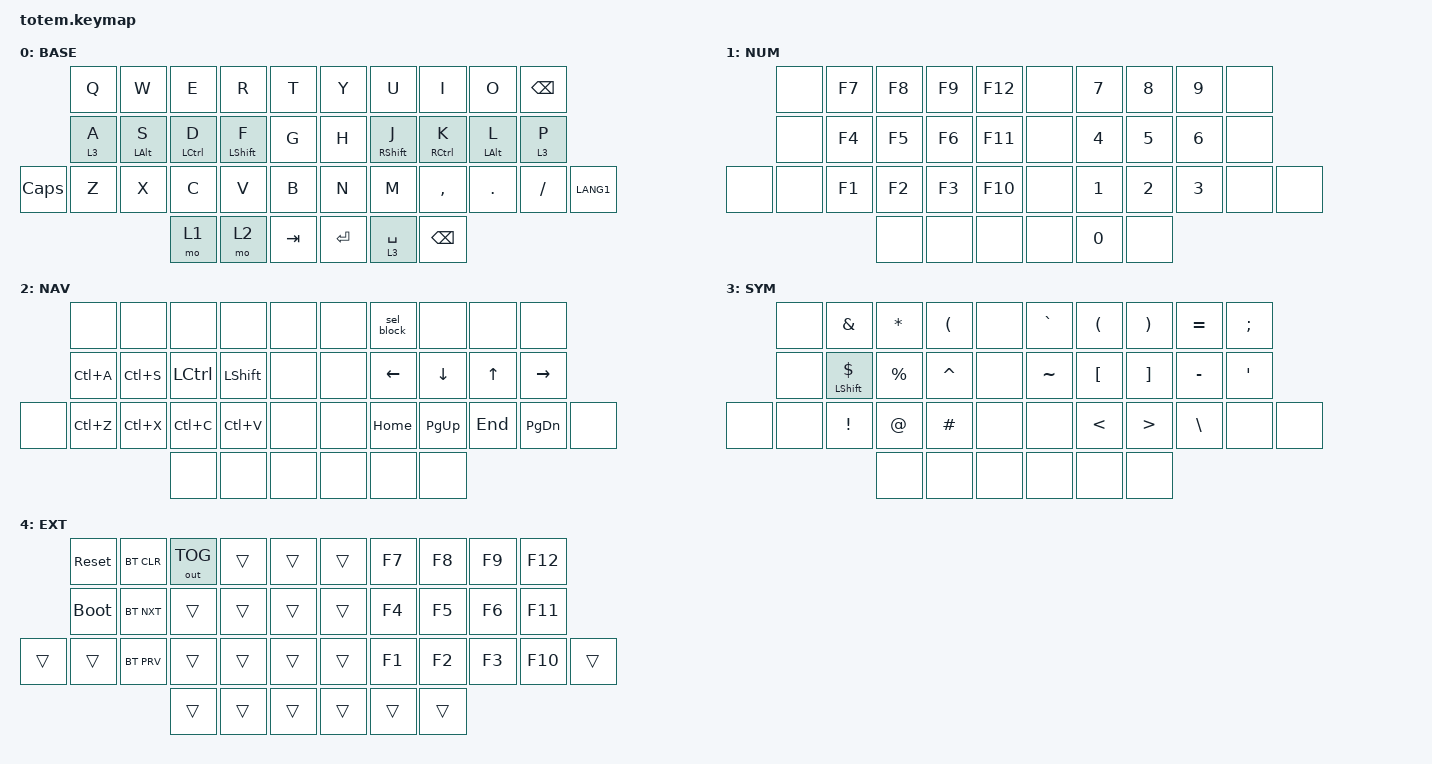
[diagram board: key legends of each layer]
//
//                                                        ▀▀▀▀▀     ▀▀▀▀▀          ▀▀█▀▀
//                                                        ▄▀▀▀▄  ▄  ▄▀▀▀▄  ▄  ▄▀▀▀▄  █  ▄▀▀▀▄
//                                                        █   █  █  █   █  █  █   █  █  █   █
//                                                         ▀▀▀   █   ▀▀▀   █   ▀▀▀   ▀   ▀▀▀
//                                                               █      ▄▄▄█▄▄▄    █   █  
//                                                               ▀      █  █  █     █▄█
//                                                             ▀▀▀▀▀    █  █  █      ▀
//                                                                      ▀  ▀  ▀
//
// ▄▄▄▄▄▄▄▄▄▄▄▄▄▄▄▄▄▄▄▄▄▄▄▄▄▄▄▄▄▄▄▄▄▄▄▄▄▄▄▄▄▄▄▄▄▄▄▄▄▄▄▄▄▄▄▄▄▄▄▄▄▄▄▄▄▄▄▄▄▄▄▄▄▄▄▄▄▄▄▄▄▄▄▄▄▄▄▄▄▄▄▄▄▄▄▄▄▄▄▄▄▄▄▄▄▄▄▄▄▄▄▄▄▄▄▄▄▄▄▄▄▄▄▄▄▄▄▄▄▄▄▄▄▄▄▄▄▄▄▄▄▄▄▄▄▄▄▄▄

#include <behaviors.dtsi>
#include <dt-bindings/zmk/bt.h>
#include <dt-bindings/zmk/keys.h>
#include <dt-bindings/zmk/outputs.h>

#define BASE 0
#define QWT 1
#define NUM  2
#define NAV  3
#define SYM  4
#define EXT  5

&mt {
    quick-tap-ms = <100>;
    global-quick-tap;
    flavor = "tap-preferred";
    tapping-term-ms = <230>;
};

/ {
    combos {
        compatible = "zmk,combos";

        combo_esc {
            timeout-ms = <50>;
            key-positions = <0 1>;
            bindings = <&kp ESC>;
        };

        combo_ext {
            timeout-ms = <50>;
            key-positions = <1 2>;
            bindings = <&tog 4>;
        };
    };

    macros {
        sel_block: sel_block {
            compatible = "zmk,behavior-macro";
            #binding-cells = <0>;
            bindings =
                <&kp LC(LEFT)>,
                <&macro_press>,
                <&kp LSHFT>,
                <&macro_tap>,
                <&kp LC(RIGHT)>,
                <&macro_release>,
                <&kp LSHFT>;
        };
    };

    keymap {
        compatible = "zmk,keymap";

        // ▄▄▄▄▄▄▄▄▄▄▄▄▄▄▄▄▄▄▄▄▄▄▄▄▄▄▄▄▄▄▄▄▄▄▄▄▄▄▄▄▄▄▄▄▄▄▄▄▄▄▄▄▄▄▄▄▄▄▄▄▄▄▄▄▄▄▄▄▄▄▄▄▄▄▄▄▄▄▄▄▄▄▄▄▄▄▄▄▄▄▄▄▄▄▄▄▄▄▄▄▄▄▄▄▄▄▄▄▄▄▄▄▄▄▄▄▄▄▄▄▄▄▄▄▄▄▄▄▄▄▄▄▄▄▄▄▄▄▄▄▄▄▄▄▄▄▄▄▄
        // ▄▄▄▄▄▄▄▄▄▄▄▄▄▄▄▄▄▄▄▄▄▄▄▄▄▄▄▄▄▄▄▄▄▄▄▄▄▄▄▄▄▄▄▄▄▄▄▄▄▄▄▄▄▄▄▄▄▄▄▄▄▄▄▄▄▄▄▄▄▄▄▄▄▄▄▄▄▄▄▄▄▄▄▄▄▄▄▄▄▄▄▄▄▄▄▄▄▄▄▄▄▄▄▄▄▄▄▄▄▄▄▄▄▄▄▄▄▄▄▄▄▄▄▄▄▄▄▄▄▄▄▄▄▄▄▄▄▄▄▄▄▄▄▄▄▄▄▄▄

        qwerty_layer {
            // ┏━━━━━━━━━━━━━━━━━━━━━━━━━━━━━━━━━━━━━━━┓

            label = "BASE";

            // ┗━━━━━━━━━━━━━━━━━━━━━━━━━━━━━━━━━━━━━━━┛
            //             ┏━━━━━━━━━━━┳━━━━━━━━━━━┳━━━━━━━━━━━┳━━━━━━━━━━━┳━━━━━━━━━━━┓   ┏━━━━━━━━━━━┳━━━━━━━━━━━┳━━━━━━━━━━━┳━━━━━━━━━━━┳━━━━━━━━━━━┓
            //             ┃     Q     ┃     W     ┃     F     ┃     P     ┃     G     ┃   ┃     J     ┃     L     ┃     U     ┃     Y     ┃     ;     ┃
            //             ┣━━━━━━━━━━━╋━━━━━━━━━━━╋━━━━━━━━━━━╋━━━━━━━━━━━╋━━━━━━━━━━━┫   ┣━━━━━━━━━━━╋━━━━━━━━━━━╋━━━━━━━━━━━╋━━━━━━━━━━━╋━━━━━━━━━━━┫
            //             ┃     A     ┃     R     ┃     S     ┃     T     ┃     D     ┃   ┃     H     ┃     N     ┃     E     ┃     I     ┃     O     ┃
            // ┏━━━━━━━━━━━╋━━━━━━━━━━━╋━━━━━━━━━━━╋━━━━━━━━━━━╋━━━━━━━━━━━╋━━━━━━━━━━━┫   ┣━━━━━━━━━━━╋━━━━━━━━━━━╋━━━━━━━━━━━╋━━━━━━━━━━━╋━━━━━━━━━━━╋━━━━━━━━━━━┓
            // ┃     Q     ┃     Z     ┃     X     ┃     C     ┃     V     ┃     B     ┃   ┃     K     ┃     M     ┃     ,     ┃     .     ┃     /     ┃     \     ┃
            // ┗━━━━━━━━━━━┻━━━━━━━━━━━┻━━━━━━━━━━━╋━━━━━━━━━━━╋━━━━━━━━━━━╋━━━━━━━━━━━┫   ┣━━━━━━━━━━━╋━━━━━━━━━━━╋━━━━━━━━━━━╋━━━━━━━━━━━┻━━━━━━━━━━━┻━━━━━━━━━━━┛
            //                                     ┃    DEL    ┃    TAB    ┃    SPC    ┃   ┃   ENTER   ┃           ┃   BSPC    ┃
            //                                     ┗━━━━━━━━━━━┻━━━━━━━━━━━┻━━━━━━━━━━━┛   ┗━━━━━━━━━━━┻━━━━━━━━━━━┻━━━━━━━━━━━┛

            bindings = <
          &kp Q    &kp W       &kp E        &kp R        &kp T      &kp Y    &kp U        &kp I        &kp O       &kp BACKSPACE
          &lt 3 A  &mt LALT S  &mt LCTRL D  &mt LSHFT F  &kp G      &kp H    &mt RSHFT J  &mt RCTRL K  &mt LALT L  &lt 3 P
&kp CAPS  &kp Z    &kp X       &kp C        &kp V        &kp B      &kp N    &kp M        &kp COMMA    &kp DOT     &kp FSLH       &kp LANG1
                               &mo 1        &mo 2        &kp TAB    &kp RET  &lt 3 SPACE  &kp BSPC
            >;
        };

        // ▄▄▄▄▄▄▄▄▄▄▄▄▄▄▄▄▄▄▄▄▄▄▄▄▄▄▄▄▄▄▄▄▄▄▄▄▄▄▄▄▄▄▄▄▄▄▄▄▄▄▄▄▄▄▄▄▄▄▄▄▄▄▄▄▄▄▄▄▄▄▄▄▄▄▄▄▄▄▄▄▄▄▄▄▄▄▄▄▄▄▄▄▄▄▄▄▄▄▄▄▄▄▄▄▄▄▄▄▄▄▄▄▄▄▄▄▄▄▄▄▄▄▄▄▄▄▄▄▄▄▄▄▄▄▄▄▄▄▄▄▄▄▄▄▄▄▄▄▄

        num_layer {
            // ┏━━━━━━━━━━━━━━━━━━━━━━━━━━━━━━━━━━━━━━━┓

            label = "NUM";

            // ┗━━━━━━━━━━━━━━━━━━━━━━━━━━━━━━━━━━━━━━━┛
            //             ┏━━━━━━━━━━━┳━━━━━━━━━━━┳━━━━━━━━━━━┳━━━━━━━━━━━┳━━━━━━━━━━━┓   ┏━━━━━━━━━━━┳━━━━━━━━━━━┳━━━━━━━━━━━┳━━━━━━━━━━━┳━━━━━━━━━━━┓
            //             ┃           ┃           ┃     UP    ┃           ┃     {     ┃   ┃     }     ┃     7     ┃     8     ┃     9     ┃     +     ┃
            //             ┣━━━━━━━━━━━╋━━━━━━━━━━━╋━━━━━━━━━━━╋━━━━━━━━━━━╋━━━━━━━━━━━┫   ┣━━━━━━━━━━━╋━━━━━━━━━━━╋━━━━━━━━━━━╋━━━━━━━━━━━╋━━━━━━━━━━━┫
            //             ┃   SHIFT   ┃   LEFT    ┃    DOWN   ┃   RIGHT   ┃     [     ┃   ┃     ]     ┃     4     ┃     5     ┃     6     ┃     -     ┃
            // ┏━━━━━━━━━━━╋━━━━━━━━━━━╋━━━━━━━━━━━╋━━━━━━━━━━━╋━━━━━━━━━━━╋━━━━━━━━━━━┫   ┣━━━━━━━━━━━╋━━━━━━━━━━━╋━━━━━━━━━━━╋━━━━━━━━━━━╋━━━━━━━━━━━╋━━━━━━━━━━━┓
            // ┃           ┃           ┃   P UP    ┃  C LOCK   ┃  P DOWN   ┃     (     ┃   ┃     )     ┃     1     ┃     2     ┃     3     ┃     *     ┃           ┃
            // ┗━━━━━━━━━━━┻━━━━━━━━━━━┻━━━━━━━━━━━╋━━━━━━━━━━━╋━━━━━━━━━━━╋━━━━━━━━━━━┫   ┣━━━━━━━━━━━╋━━━━━━━━━━━╋━━━━━━━━━━━╋━━━━━━━━━━━┻━━━━━━━━━━━┻━━━━━━━━━━━┛
            //                                     ┃           ┃    TAB    ┃    SPC    ┃   ┃    DEL    ┃     0     ┃           ┃
            //                                     ┗━━━━━━━━━━━┻━━━━━━━━━━━┻━━━━━━━━━━━┛   ┗━━━━━━━━━━━┻━━━━━━━━━━━┻━━━━━━━━━━━┛

            bindings = <
       &none  &kp F7  &kp F8  &kp F9  &kp F12    &none  &kp N7        &kp N8  &kp N9  &none
       &none  &kp F4  &kp F5  &kp F6  &kp F11    &none  &kp N4        &kp N5  &kp N6  &none
&none  &none  &kp F1  &kp F2  &kp F3  &kp F10    &none  &kp N1        &kp N2  &kp N3  &none  &none
                      &none   &none   &none      &none  &kp NUMBER_0  &none
            >;
        };

        // ▄▄▄▄▄▄▄▄▄▄▄▄▄▄▄▄▄▄▄▄▄▄▄▄▄▄▄▄▄▄▄▄▄▄▄▄▄▄▄▄▄▄▄▄▄▄▄▄▄▄▄▄▄▄▄▄▄▄▄▄▄▄▄▄▄▄▄▄▄▄▄▄▄▄▄▄▄▄▄▄▄▄▄▄▄▄▄▄▄▄▄▄▄▄▄▄▄▄▄▄▄▄▄▄▄▄▄▄▄▄▄▄▄▄▄▄▄▄▄▄▄▄▄▄▄▄▄▄▄▄▄▄▄▄▄▄▄▄▄▄▄▄▄▄▄▄▄▄▄

        nav_layer {
            // ┏━━━━━━━━━━━━━━━━━━━━━━━━━━━━━━━━━━━━━━━┓

            label = "NAV";

            // ┗━━━━━━━━━━━━━━━━━━━━━━━━━━━━━━━━━━━━━━━┛
            //             ┏━━━━━━━━━━━┳━━━━━━━━━━━┳━━━━━━━━━━━┳━━━━━━━━━━━┳━━━━━━━━━━━┓   ┏━━━━━━━━━━━┳━━━━━━━━━━━┳━━━━━━━━━━━┳━━━━━━━━━━━┳━━━━━━━━━━━┓
            //             ┃     !     ┃     @     ┃     #     ┃     $     ┃     %     ┃   ┃     ˆ     ┃     &     ┃     Ü     ┃     '     ┃     "     ┃
            //             ┣━━━━━━━━━━━╋━━━━━━━━━━━╋━━━━━━━━━━━╋━━━━━━━━━━━╋━━━━━━━━━━━┫   ┣━━━━━━━━━━━╋━━━━━━━━━━━╋━━━━━━━━━━━╋━━━━━━━━━━━╋━━━━━━━━━━━┫
            //             ┃     Ä     ┃           ┃    SZ     ┃           ┃           ┃   ┃   MUTE    ┃   YEN     ┃   EURO    ┃  POUND    ┃     Ö     ┃
            // ┏━━━━━━━━━━━╋━━━━━━━━━━━╋━━━━━━━━━━━╋━━━━━━━━━━━╋━━━━━━━━━━━╋━━━━━━━━━━━┫   ┣━━━━━━━━━━━╋━━━━━━━━━━━╋━━━━━━━━━━━╋━━━━━━━━━━━╋━━━━━━━━━━━╋━━━━━━━━━━━┓
            // ┃           ┃  EMAIL1   ┃  EMAIL2   ┃           ┃           ┃           ┃   ┃   VOL-    ┃   VOL+    ┃   LAST    ┃   NEXT    ┃     \     ┃           ┃
            // ┗━━━━━━━━━━━┻━━━━━━━━━━━┻━━━━━━━━━━━╋━━━━━━━━━━━╋━━━━━━━━━━━╋━━━━━━━━━━━┫   ┣━━━━━━━━━━━╋━━━━━━━━━━━╋━━━━━━━━━━━╋━━━━━━━━━━━┻━━━━━━━━━━━┻━━━━━━━━━━━┛
            //                                     ┃           ┃    GIF    ┃    ADJ    ┃   ┃           ┃           ┃           ┃
            //                                     ┗━━━━━━━━━━━┻━━━━━━━━━━━┻━━━━━━━━━━━┛   ┗━━━━━━━━━━━┻━━━━━━━━━━━┻━━━━━━━━━━━┛

            bindings = <
       &none      &none      &none             &none           &none    &none  &sel_block  &none      &none         &none
       &kp LC(A)  &kp LC(S)  &kp LEFT_CONTROL  &kp LEFT_SHIFT  &none    &none  &kp LEFT    &kp DOWN   &kp UP_ARROW  &kp RIGHT
&none  &kp LC(Z)  &kp LC(X)  &kp LC(C)         &kp LC(V)       &none    &none  &kp HOME    &kp PG_UP  &kp END       &kp PG_DN  &none
                             &none             &none           &none    &none  &none       &none
            >;
        };

        // ▄▄▄▄▄▄▄▄▄▄▄▄▄▄▄▄▄▄▄▄▄▄▄▄▄▄▄▄▄▄▄▄▄▄▄▄▄▄▄▄▄▄▄▄▄▄▄▄▄▄▄▄▄▄▄▄▄▄▄▄▄▄▄▄▄▄▄▄▄▄▄▄▄▄▄▄▄▄▄▄▄▄▄▄▄▄▄▄▄▄▄▄▄▄▄▄▄▄▄▄▄▄▄▄▄▄▄▄▄▄▄▄▄▄▄▄▄▄▄▄▄▄▄▄▄▄▄▄▄▄▄▄▄▄▄▄▄▄▄▄▄▄▄▄▄▄▄▄▄

        sym_layer {
            // ┏━━━━━━━━━━━━━━━━━━━━━━━━━━━━━━━━━━━━━━━┓

            label = "SYM";

            // ┗━━━━━━━━━━━━━━━━━━━━━━━━━━━━━━━━━━━━━━━┛
            //             ┏━━━━━━━━━━━┳━━━━━━━━━━━┳━━━━━━━━━━━┳━━━━━━━━━━━┳━━━━━━━━━━━┓   ┏━━━━━━━━━━━┳━━━━━━━━━━━┳━━━━━━━━━━━┳━━━━━━━━━━━┳━━━━━━━━━━━┓
            //             ┃     !     ┃     @     ┃     #     ┃     $     ┃     %     ┃   ┃     ˆ     ┃     &     ┃     Ü     ┃     '     ┃     "     ┃
            //             ┣━━━━━━━━━━━╋━━━━━━━━━━━╋━━━━━━━━━━━╋━━━━━━━━━━━╋━━━━━━━━━━━┫   ┣━━━━━━━━━━━╋━━━━━━━━━━━╋━━━━━━━━━━━╋━━━━━━━━━━━╋━━━━━━━━━━━┫
            //             ┃     Ä     ┃           ┃    SZ     ┃           ┃           ┃   ┃   MUTE    ┃   YEN     ┃   EURO    ┃  POUND    ┃     Ö     ┃
            // ┏━━━━━━━━━━━╋━━━━━━━━━━━╋━━━━━━━━━━━╋━━━━━━━━━━━╋━━━━━━━━━━━╋━━━━━━━━━━━┫   ┣━━━━━━━━━━━╋━━━━━━━━━━━╋━━━━━━━━━━━╋━━━━━━━━━━━╋━━━━━━━━━━━╋━━━━━━━━━━━┓
            // ┃           ┃  EMAIL1   ┃  EMAIL2   ┃           ┃           ┃           ┃   ┃   VOL-    ┃   VOL+    ┃   LAST    ┃   NEXT    ┃     \     ┃           ┃
            // ┗━━━━━━━━━━━┻━━━━━━━━━━━┻━━━━━━━━━━━╋━━━━━━━━━━━╋━━━━━━━━━━━╋━━━━━━━━━━━┫   ┣━━━━━━━━━━━╋━━━━━━━━━━━╋━━━━━━━━━━━╋━━━━━━━━━━━┻━━━━━━━━━━━┻━━━━━━━━━━━┛
            //                                     ┃           ┃    GIF    ┃    ADJ    ┃   ┃           ┃           ┃           ┃
            //                                     ┗━━━━━━━━━━━┻━━━━━━━━━━━┻━━━━━━━━━━━┛   ┗━━━━━━━━━━━┻━━━━━━━━━━━┻━━━━━━━━━━━┛

            bindings = <
       &none  &kp AMPS        &kp ASTRK  &kp LPAR   &none    &kp GRAVE  &kp LPAR  &kp RPAR  &kp EQUAL  &kp SEMI
       &none  &mt LSHFT DLLR  &kp PRCNT  &kp CARET  &none    &kp TILDE  &kp LBKT  &kp RBKT  &kp MINUS  &kp SQT
&none  &none  &kp EXCL        &kp AT     &kp HASH   &none    &none      &kp LT    &kp GT    &kp BSLH   &none     &none
                              &none      &none      &none    &none      &none     &none
            >;
        };

        // ▄▄▄▄▄▄▄▄▄▄▄▄▄▄▄▄▄▄▄▄▄▄▄▄▄▄▄▄▄▄▄▄▄▄▄▄▄▄▄▄▄▄▄▄▄▄▄▄▄▄▄▄▄▄▄▄▄▄▄▄▄▄▄▄▄▄▄▄▄▄▄▄▄▄▄▄▄▄▄▄▄▄▄▄▄▄▄▄▄▄▄▄▄▄▄▄▄▄▄▄▄▄▄▄▄▄▄▄▄▄▄▄▄▄▄▄▄▄▄▄▄▄▄▄▄▄▄▄▄▄▄▄▄▄▄▄▄▄▄▄▄▄▄▄▄▄▄▄▄

        extend_layer {
            // ┏━━━━━━━━━━━━━━━━━━━━━━━━━━━━━━━━━━━━━━━┓

            label = "EXT";

            // ┗━━━━━━━━━━━━━━━━━━━━━━━━━━━━━━━━━━━━━━━┛
            //             ┏━━━━━━━━━━━┳━━━━━━━━━━━┳━━━━━━━━━━━┳━━━━━━━━━━━┳━━━━━━━━━━━┓   ┏━━━━━━━━━━━┳━━━━━━━━━━━┳━━━━━━━━━━━┳━━━━━━━━━━━┳━━━━━━━━━━━┓
            //             ┃   RESET   ┃ BT CLEAR  ┃  OUT TOG  ┃           ┃           ┃   ┃           ┃    F7     ┃    F8     ┃    F9     ┃    F12    ┃
            //             ┣━━━━━━━━━━━╋━━━━━━━━━━━╋━━━━━━━━━━━╋━━━━━━━━━━━╋━━━━━━━━━━━┫   ┣━━━━━━━━━━━╋━━━━━━━━━━━╋━━━━━━━━━━━╋━━━━━━━━━━━╋━━━━━━━━━━━┫
            //             ┃ BOOTLOAD  ┃ BT NEXT   ┃           ┃           ┃           ┃   ┃           ┃    F4     ┃    F5     ┃    F6     ┃    F11    ┃
            // ┏━━━━━━━━━━━╋━━━━━━━━━━━╋━━━━━━━━━━━╋━━━━━━━━━━━╋━━━━━━━━━━━╋━━━━━━━━━━━┫   ┣━━━━━━━━━━━╋━━━━━━━━━━━╋━━━━━━━━━━━╋━━━━━━━━━━━╋━━━━━━━━━━━╋━━━━━━━━━━━┓
            // ┃           ┃           ┃ BT PREV   ┃           ┃           ┃           ┃   ┃           ┃    F1     ┃    F2     ┃    F3     ┃    F10    ┃           ┃
            // ┗━━━━━━━━━━━┻━━━━━━━━━━━┻━━━━━━━━━━━╋━━━━━━━━━━━╋━━━━━━━━━━━╋━━━━━━━━━━━┫   ┣━━━━━━━━━━━╋━━━━━━━━━━━╋━━━━━━━━━━━╋━━━━━━━━━━━┻━━━━━━━━━━━┻━━━━━━━━━━━┛
            //                                     ┃           ┃           ┃           ┃   ┃           ┃           ┃           ┃
            //                                     ┗━━━━━━━━━━━┻━━━━━━━━━━━┻━━━━━━━━━━━┛   ┗━━━━━━━━━━━┻━━━━━━━━━━━┻━━━━━━━━━━━┛

            bindings = <
        &sys_reset   &bt BT_CLR  &out OUT_TOG  &trans  &trans    &trans  &kp F7  &kp F8  &kp F9  &kp F12
        &bootloader  &bt BT_NXT  &trans        &trans  &trans    &trans  &kp F4  &kp F5  &kp F6  &kp F11
&trans  &trans       &bt BT_PRV  &trans        &trans  &trans    &trans  &kp F1  &kp F2  &kp F3  &kp F10  &trans
                                 &trans        &trans  &trans    &trans  &trans  &trans
            >;
        };
    };
};
